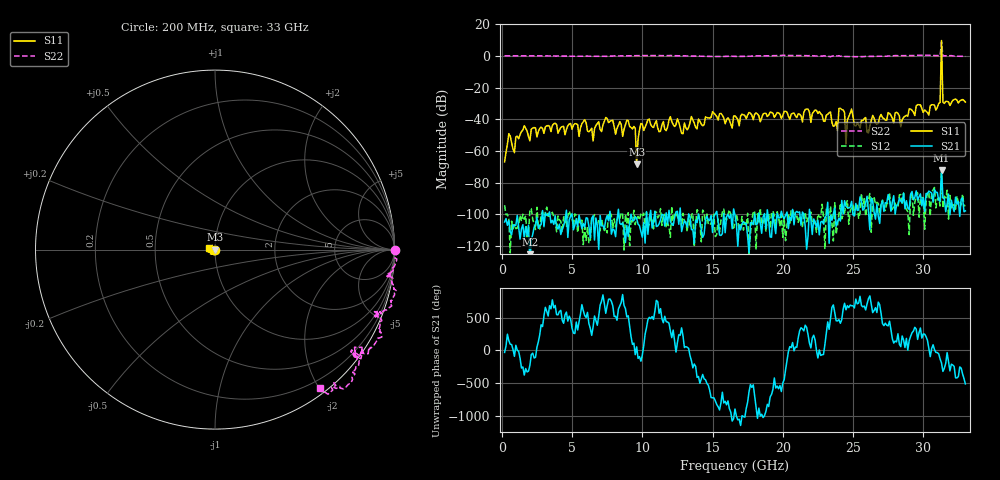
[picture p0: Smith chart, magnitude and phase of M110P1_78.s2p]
# GHZ S RI R 50
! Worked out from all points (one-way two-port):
!   329 points, 200 MHz to 33 GHz, reference 50 ohm
!   highest |S21| = -72.04 dB at 31.3 GHz (marker M1); lowest = -131.4 dB at 2 GHz (marker M2)
!   lowest |S11| = -68.5 dB at 9.6 GHz (marker M3), VSWR 1.00, Z = 50 + j0.0138 ohm
!   |S11| at or under -10 dB: start of sweep to 31.25 GHz; 31.35 GHz to end of sweep
!   |S22| runs from -0.5 to 8.6 dB; largest |S21 - S12| = 0.00034
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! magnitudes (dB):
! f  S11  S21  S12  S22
! 200 MHz  -67.0  -104.9  -94.4  0.0
! 500 MHz  -49.2  -104.0  -102.9  0.1
! 2 GHz  -53.7  -131.4  -97.4  0.1
! 5.7 GHz  -42.9  -109.0  -103.8  -0.2
! 9 GHz  -40.9  -114.1  -99.1  0.1
! 9.5 GHz  -45.8  -101.6  -106.6  0.1
! 9.6 GHz  -68.5  -102.7  -102.8  0.2
! 9.9 GHz  -42.7  -111.0  -99.7  0.2
! 11.2 GHz  -48.0  -106.1  -100.9  0.2
! 16.6 GHz  -37.9  -100.5  -105.3  -0.3
! 22.1 GHz  -36.5  -112.8  -105.6  0.1
! 23.9 GHz  -47.2  -104.8  -107.0  0.0
! 24.3 GHz  -34.2  -99.9  -100.4  -0.4
! 24.5 GHz  -55.7  -95.0  -93.4  -0.4
! 24.9 GHz  -33.5  -91.9  -96.1  -0.5
! 26.1 GHz  -48.7  -98.0  -90.7  -0.3
! 27.6 GHz  -36.3  -90.6  -86.5  0.0
! 30.9 GHz  -34.3  -86.2  -96.1  0.3
! 31.2 GHz  -29.3  -91.9  -94.9  0.1
! 31.3 GHz  9.8  -72.0  -74.1  8.6
! 31.4 GHz  -29.3  -89.5  -96.1  -0.1
! 33 GHz  -29.2  -97.9  -94.6  -0.3
